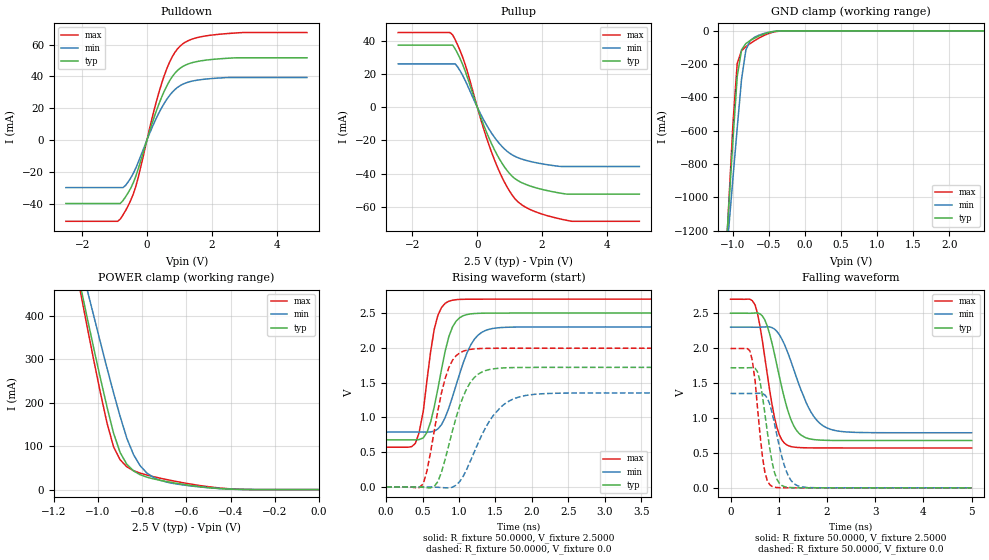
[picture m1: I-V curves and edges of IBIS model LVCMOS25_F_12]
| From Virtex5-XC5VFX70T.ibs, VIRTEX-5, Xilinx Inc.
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|   Model LVCMOS25_F_12
[Model]  LVCMOS25_F_12
Model_type I/O
Polarity   Non-Inverting
Enable   Active-Low
Vinl = 0.65
Vinh = 1.85
Vmeas =  1.2500V
Cref =   0.0F
Rref =   1.0000M
Vref =   0.0V
C_comp   6.0000pF   6.0000pF   6.0000pF
[Model Spec]
Vinl   0.65   0.6   0.7
Vinh   1.85   1.7   2.0
[Temperature Range]   25.0000   85.0000   0.0
[Voltage Range]   2.5000V   2.3000V   2.7000V
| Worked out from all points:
|   slope of the pulldown table from 0 to 0.375 V, typ, clamps not added: 16.3 ohm
|   slope of the pullup table from 0 to 0.375 V, typ, clamps not added: 19.5 ohm
|   GND clamp passes 1 mA (typ) near -0.35 V on its own axis
|   POWER clamp passes 1 mA (typ) near -0.40 V on its own axis
|   rising waveform, R_fixture 50.0000, V_fixture 2.5000: 20-80 % time 219ps typ, 297ps min, 169ps max; typ from 0.677 V to 2.5 V
|   rising waveform, R_fixture 50.0000, V_fixture 0.0: 20-80 % time 294ps typ, 403ps min, 230ps max; typ from 0 V to 1.72 V
|   falling waveform, R_fixture 50.0000, V_fixture 2.5000: 20-80 % time 383ps typ, 512ps min, 296ps max; typ from 2.5 V to 0.677 V
|   falling waveform, R_fixture 50.0000, V_fixture 0.0: 20-80 % time 222ps typ, 282ps min, 176ps max; typ from 1.72 V to 0 V
[Pulldown]
|Voltage   I(typ)   I(min)   I(max)
-2.5V     -39.8mA    -29.84mA   -51mA
-900mV    -39.8mA    -29.84mA   -51mA
-820mV    -39.8mA    -29.84mA   -49.53mA
-660mV    -35.7mA    -28.49mA   -44.35mA
-340mV    -22.55mA   -17.45mA   -28.94mA
220mV     14.2mA     10.7mA     18.76mA
540mV     30.98mA    23.3mA     40.82mA
780mV     39.81mA    30.03mA    52.29mA
1.1V      46.18mA    35.06mA    60.36mA
1.5V      49.17mA    37.49mA    64.12mA
2.22V     51.04mA    39.01mA    66.47mA
4.94V     51.73mA    39.36mA    67.56mA
[Pullup]
|Voltage   I(typ)   I(min)   I(max)
-2.44V    37.46mA    26.15mA    45.04mA
-840mV    37.46mA    26.15mA    45.04mA
-760mV    37.46mA    26.15mA    43.62mA
-600mV    32.11mA    24.14mA    37.29mA
-360mV    21.09mA    15.58mA    24.96mA
120mV     -6.701mA   -4.795mA   -8.164mA
520mV     -25.32mA   -17.91mA   -31.29mA
920mV     -38.23mA   -26.59mA   -48.16mA
1.32V     -45.02mA   -30.95mA   -58.15mA
1.96V     -49.41mA   -34.03mA   -64.25mA
2.92V     -52.44mA   -35.78mA   -68.84mA
5V        -52.44mA   -35.78mA   -68.84mA
[GND_clamp]
|Voltage   I(typ)   I(min)   I(max)
-2.5V     -11.29A    -8.704A    -13.53A
-1.12V    -1.497A    -1.51A     -1.57A
-1.06V    -1.075A    -1.198A    -1.059A
-1V       -662mA     -888.5mA   -563.2mA
-940mV    -273.6mA   -582.9mA   -195.1mA
-880mV    -113.7mA   -290.3mA   -119.7mA
-820mV    -76.4mA    -115.2mA   -95.07mA
-760mV    -58.66mA   -58.46mA   -76.31mA
-700mV    -44.35mA   -38.35mA   -59.24mA
-520mV    -12.14mA   -10.32mA   -18.61mA
-340mV    -602.1uA   -638.4uA   -1.401mA
2.48V     19.95nA    6.298uA    40.3nA
[POWER_clamp]
|Voltage   I(typ)   I(min)   I(max)
-2.49V    3.897A     3.398A     4.279A
-1.08V    470.7mA    523.2mA    456.9mA
-1.05V    398.2mA    462.2mA    377.2mA
-1.02V    327.1mA    401.4mA    299.7mA
-960mV    191.8mA    281.1mA    154.7mA
-930mV    130.6mA    223.5mA    98.93mA
-900mV    85.26mA    168.6mA    68.69mA
-840mV    43.25mA    81.1mA     43.8mA
-780mV    28.81mA    38.65mA    33.69mA
-690mV    18.53mA    17.37mA    23.2mA
-540mV    6.864mA    6.149mA    9.448mA
0V        21.48nA    108.1nA    47.01nA
[Ramp]
| variable   typ   min   max
dV/dt_r  1.0314/0.2914n   0.8106/0.3977n   1.1964/0.2261n
dV/dt_f  1.0938/0.3812n   0.9067/0.5107n   1.2773/0.2941n
R_load = 50.0000
[Rising Waveform]
R_fixture= 50.0000
V_fixture= 2.5000
V_fixture_min= 2.3000
V_fixture_max= 2.7000
|time   V(typ)   V(min)   V(max)
0s        676.9mV    788.8mV    571.1mV
400ps     677mV      788.8mV    625.3mV
510ps     705.3mV    788.7mV    1.093V
660ps     1.152V     802.3mV    2.27V
760ps     1.692V     896.4mV    2.581V
860ps     2.16V      1.134V     2.67V
960ps     2.384V     1.464V     2.692V
1.16ns    2.488V     2.04V      2.699V
1.41ns    2.499V     2.266V     2.7V
5ns       2.5V       2.3V       2.7V
[Rising Waveform]
R_fixture= 50.0000
V_fixture= 0.0
|time   V(typ)   V(min)   V(max)
0s        0V         672.7nV    0V
510ps     -5.436mV   16.3uV     45.73mV
660ps     7.27mV     -2.544mV   806.5mV
810ps     397.3mV    -12.29mV   1.561V
910ps     807.9mV    -3.987mV   1.82V
1.06ns    1.308V     158.5mV    1.953V
1.21ns    1.574V     505.7mV    1.984V
1.46ns    1.696V     1.013V     1.993V
1.82ns    1.717V     1.292V     1.994V
5ns       1.719V     1.351V     1.994V
[Falling Waveform]
R_fixture= 50.0000
V_fixture= 2.5000
V_fixture_min= 2.3000
V_fixture_max= 2.7000
|time   V(typ)   V(min)   V(max)
0s        2.5V       2.3V       2.7V
510ps     2.503V     2.299V     2.618V
710ps     2.406V     2.304V     1.871V
910ps     1.918V     2.274V     1.012V
1.01ns    1.6V       2.194V     762.1mV
1.16ns    1.171V     1.983V     617.4mV
1.46ns    756mV      1.402V     575.5mV
1.72ns    691.9mV    1.028V     572mV
2.02ns    679.8mV    851.5mV    571.2mV
5ns       677mV      788.8mV    571.1mV
[Falling Waveform]
R_fixture= 50.0000
V_fixture= 0.0
|time   V(typ)   V(min)   V(max)
0s        1.719V     1.351V     1.994V
400ps     1.72V      1.351V     1.961V
510ps     1.71V      1.351V     1.527V
610ps     1.53V      1.354V     772.9mV
710ps     1.071V     1.332V     229.4mV
860ps     371.1mV    1.077V     21.38mV
960ps     125.2mV    758.3mV    5.018mV
1.16ns    10.78mV    231.4mV    794.4uV
1.41ns    1.251mV    25.62mV    191.2uV
5ns       50.28uV    48.02uV    15.72uV
